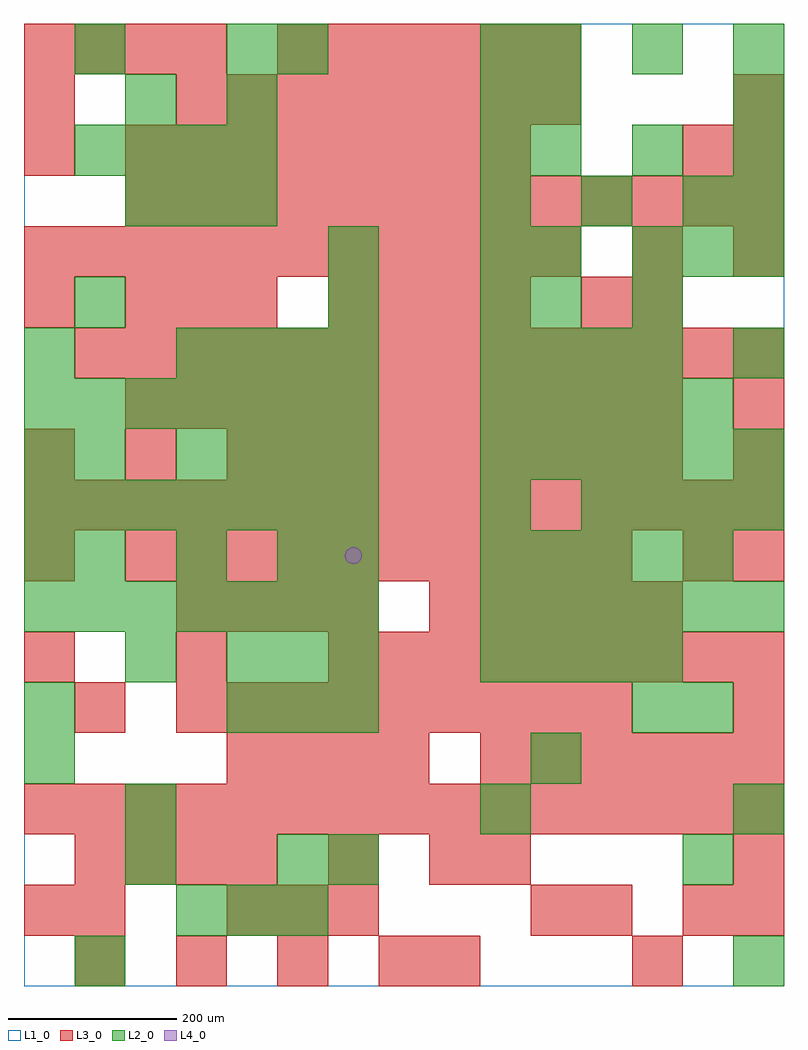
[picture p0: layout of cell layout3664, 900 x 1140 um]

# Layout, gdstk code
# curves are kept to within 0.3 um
import gdstk
lib = gdstk.Library(unit=1e-6, precision=1e-09)
def R(c, l, rs):  # rectangles x0, y0, x1, y1
    for r in rs: c.add(gdstk.rectangle(r[:2], r[2:], *l))
def A(c, l, x, y, w, h, nx, ny, dx, dy):  # array of equal rectangles
    R(c, l, [(x+i*dx, y+j*dy, x+i*dx+w, y+j*dy+h) for i in range(nx) for j in range(ny)])
def P(c, l, *ps):  # polygons
    for p in ps: c.add(gdstk.Polygon(p, *l))
L1_0 = (1, 0)
L2_0 = (2, 0)
L3_0 = (3, 0)
L4_0 = (4, 0)

layout3664 = lib.new_cell('layout3664')
R(layout3664, L1_0, [(0,0,900,1140)])
A(layout3664, L2_0, 180, 60, 60, 60, 3, 1, 60, 0)
A(layout3664, L2_0, 240, 300, 60, 60, 3, 2, 60, 60)
A(layout3664, L2_0, 540, 360, 60, 60, 4, 2, 60, 360)
A(layout3664, L2_0, 0, 420, 60, 60, 7, 3, 60, 120)
A(layout3664, L2_0, 540, 420, 60, 60, 6, 2, 60, 180)
A(layout3664, L2_0, 0, 480, 60, 60, 1, 3, 0, 120)
A(layout3664, L2_0, 60, 480, 60, 60, 3, 1, 120, 0)
A(layout3664, L2_0, 540, 480, 60, 60, 5, 2, 60, 180)
A(layout3664, L2_0, 660, 540, 60, 60, 4, 1, 60, 0)
A(layout3664, L2_0, 180, 600, 60, 60, 4, 2, 60, 120)
A(layout3664, L2_0, 720, 840, 60, 60, 3, 1, 60, 0)
A(layout3664, L2_0, 120, 900, 60, 60, 3, 1, 60, 0)
A(layout3664, L2_0, 540, 900, 60, 60, 3, 1, 120, 0)
A(layout3664, L2_0, 60, 960, 60, 60, 4, 1, 60, 0)
A(layout3664, L2_0, 540, 960, 60, 60, 1, 3, 0, 60)
A(layout3664, L2_0, 600, 960, 60, 60, 3, 2, 120, 120)
R(layout3664, L2_0, [(60,0,120,60), (840,0,900,60), (120,120,180,180), (300,120,360,180), (360,120,420,180), (780,120,840,180), (120,180,180,240), (540,180,600,240), (840,180,900,240), (0,240,60,300), (600,240,660,300), (0,300,60,360), (720,300,780,360), (780,300,840,360), (120,360,180,420), (360,480,420,540), (540,540,600,600), (60,600,120,660), (840,720,900,780), (60,780,120,840), (360,780,420,840), (540,780,600,840), (600,780,660,840), (720,780,780,840), (360,840,420,900), (540,840,600,900), (600,840,660,900), (840,900,900,960), (120,1020,180,1080), (240,1020,300,1080), (600,1020,660,1080), (840,1020,900,1080), (60,1080,120,1140), (240,1080,300,1140), (300,1080,360,1140)])
A(layout3664, L3_0, 60, 0, 60, 60, 4, 1, 120, 0)
A(layout3664, L3_0, 240, 60, 60, 60, 3, 1, 60, 0)
A(layout3664, L3_0, 60, 120, 60, 60, 4, 1, 60, 0)
A(layout3664, L3_0, 840, 120, 60, 60, 1, 3, 0, 180)
A(layout3664, L3_0, 0, 180, 60, 60, 15, 2, 60, 360)
A(layout3664, L3_0, 240, 240, 60, 60, 4, 1, 60, 0)
A(layout3664, L3_0, 540, 240, 60, 60, 6, 1, 60, 0)
A(layout3664, L3_0, 180, 300, 60, 60, 9, 1, 60, 0)
A(layout3664, L3_0, 0, 360, 60, 60, 3, 1, 180, 0)
A(layout3664, L3_0, 420, 360, 60, 60, 8, 1, 60, 0)
A(layout3664, L3_0, 180, 420, 60, 60, 4, 1, 60, 0)
A(layout3664, L3_0, 480, 420, 60, 60, 5, 1, 60, 0)
A(layout3664, L3_0, 120, 480, 60, 60, 10, 1, 60, 0)
A(layout3664, L3_0, 0, 600, 60, 60, 3, 1, 120, 0)
A(layout3664, L3_0, 300, 600, 60, 60, 8, 1, 60, 0)
A(layout3664, L3_0, 120, 660, 60, 60, 11, 1, 60, 0)
A(layout3664, L3_0, 60, 720, 60, 60, 14, 1, 60, 0)
A(layout3664, L3_0, 120, 780, 60, 60, 3, 1, 60, 0)
A(layout3664, L3_0, 360, 780, 60, 60, 4, 1, 60, 0)
A(layout3664, L3_0, 0, 840, 60, 60, 11, 1, 60, 0)
A(layout3664, L3_0, 120, 900, 60, 60, 13, 1, 60, 0)
A(layout3664, L3_0, 120, 960, 60, 60, 8, 1, 60, 0)
A(layout3664, L3_0, 180, 1020, 60, 60, 8, 1, 60, 0)
A(layout3664, L3_0, 0, 1080, 60, 60, 4, 1, 60, 0)
A(layout3664, L3_0, 300, 1080, 60, 60, 6, 1, 60, 0)
R(layout3664, L3_0, [(480,0,540,60), (720,0,780,60), (0,60,60,120), (60,60,120,120), (600,60,660,120), (660,60,720,120), (780,60,840,120), (840,60,900,120), (360,120,420,180), (480,120,540,180), (540,120,600,180), (60,300,120,360), (0,480,60,540), (780,480,840,540), (840,600,900,660), (840,660,900,720), (0,780,60,840), (660,780,720,840), (720,780,780,840), (720,840,780,900), (840,840,900,900), (0,960,60,1020), (780,960,840,1020), (840,960,900,1020), (0,1020,60,1080), (840,1020,900,1080)])
P(layout3664, L4_0, [(400,510),(399.239,513.827),(397.071,517.071),(393.827,519.239),(390,520),(386.173,519.239),(382.929,517.071),(380.761,513.827),(380,510),(380.761,506.173),(382.929,502.929),(386.173,500.761),(390,500),(393.827,500.761),(397.071,502.929),(399.239,506.173)])

lib.write_gds('layout3664.gds')
